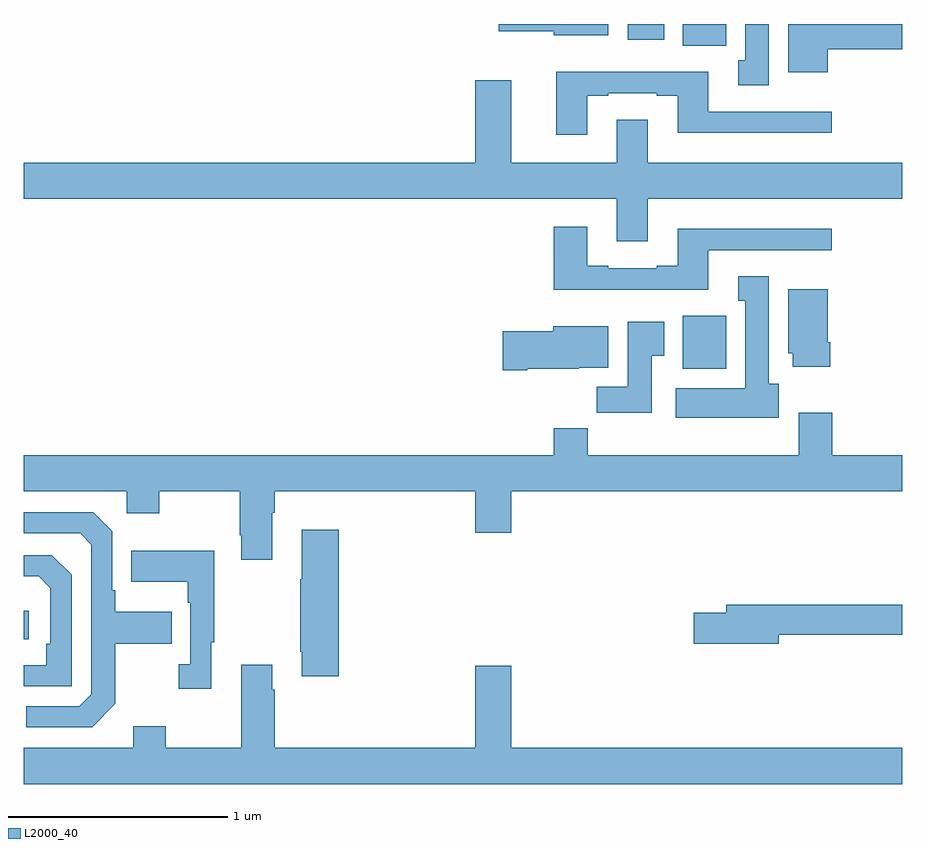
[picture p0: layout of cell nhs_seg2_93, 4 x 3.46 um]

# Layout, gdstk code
import gdstk
lib = gdstk.Library(unit=1e-6, precision=1e-09)
def R(c, l, rs):  # rectangles x0, y0, x1, y1
    for r in rs: c.add(gdstk.rectangle(r[:2], r[2:], *l))
def P(c, l, *ps):  # polygons
    for p in ps: c.add(gdstk.Polygon(p, *l))
L2000_40 = (2000, 40)

nhs_seg2_93 = lib.new_cell('nhs_seg2_93')
R(nhs_seg2_93, L2000_40, [(115,610.998,115.024,611.128), (118.001,612.23,118.198,612.472), (118.001,613.7,118.198,613.8), (117.749,613.728,117.916,613.8)])
P(nhs_seg2_93, L2000_40, [(118.66,613.684),(119,613.684),(119,613.8),(118.481,613.8),(118.481,613.58),(118.66,613.58)],
  [(118.393,613.8),(118.286,613.8),(118.286,613.634),(118.253,613.634),(118.253,613.521),(118.393,613.521)],
  [(117.661,613.8),(117.162,613.8),(117.162,613.766),(117.414,613.766),(117.414,613.748),(117.661,613.748)],
  [(117.565,613.473),(117.661,613.473),(117.661,613.485),(117.881,613.485),(117.881,613.473),(117.977,613.473),(117.977,613.304),(118.678,613.304),(118.678,613.401),(118.117,613.401),(118.117,613.582),(117.425,613.582),(117.425,613.296),(117.565,613.296)],
  [(117.841,613.004),(119,613.004),(119,613.168),(117.841,613.168),(117.841,613.363),(117.701,613.363),(117.701,613.168),(117.22,613.168),(117.22,613.543),(117.056,613.543),(117.056,613.168),(115,613.168),(115,613.004),(117.701,613.004),(117.701,612.81),(117.841,612.81)],
  [(118.117,612.771),(118.678,612.771),(118.678,612.868),(117.977,612.868),(117.977,612.7),(117.881,612.7),(117.881,612.687),(117.661,612.687),(117.661,612.7),(117.565,612.7),(117.565,612.877),(117.413,612.877),(117.413,612.59),(118.117,612.59)],
  [(118.438,612.162),(118.393,612.162),(118.393,612.652),(118.253,612.652),(118.253,612.539),(118.286,612.539),(118.286,612.142),(117.969,612.142),(117.969,612.008),(118.438,612.008)],
  [(118.673,612.352),(118.66,612.352),(118.66,612.592),(118.481,612.592),(118.481,612.3),(118.502,612.3),(118.502,612.24),(118.673,612.24)],
  [(117.859,612.289),(117.916,612.289),(117.916,612.445),(117.749,612.445),(117.749,612.148),(117.61,612.148),(117.61,612.03),(117.859,612.03)],
  [(117.292,612.23),(117.528,612.23),(117.528,612.236),(117.661,612.236),(117.661,612.424),(117.41,612.424),(117.41,612.401),(117.18,612.401),(117.18,612.223),(117.292,612.223)],
  [(116.131,611.576),(116.144,611.576),(116.144,611.672),(117.056,611.672),(117.056,611.484),(117.22,611.484),(117.22,611.672),(119,611.672),(119,611.836),(118.682,611.836),(118.682,612.031),(118.529,612.031),(118.529,611.836),(117.569,611.836),(117.569,611.96),(117.413,611.96),(117.413,611.836),(115,611.836),(115,611.672),(115.47,611.672),(115.47,611.573),(115.617,611.573),(115.617,611.672),(115.984,611.672),(115.984,611.473),(115.991,611.473),(115.991,611.361),(116.131,611.361)],
  [(115.417,610.705),(115.417,610.978),(115.673,610.978),(115.673,611.125),(115.417,611.125),(115.417,611.221),(115.404,611.221),(115.404,611.49),(115.317,611.577),(115,611.577),(115,611.481),(115.257,611.481),(115.308,611.43),(115.308,610.749),(115.254,610.695),(115.011,610.695),(115.011,610.599),(115.311,610.599)],
  [(116.435,611.497),(116.267,611.497),(116.267,611.273),(116.26,611.273),(116.26,610.942),(116.267,610.942),(116.267,610.83),(116.435,610.83)],
  [(115.855,610.985),(115.867,610.985),(115.867,611.401),(115.489,611.401),(115.489,611.261),(115.746,611.261),(115.746,611.165),(115.758,611.165),(115.758,610.886),(115.707,610.886),(115.707,610.773),(115.855,610.773)],
  [(115.218,611.292),(115.128,611.382),(115,611.382),(115,611.285),(115.069,611.285),(115.122,611.232),(115.122,610.978),(115.102,610.978),(115.102,610.881),(115,610.881),(115,610.785),(115.218,610.785)],
  [(118.438,611.02),(119,611.02),(119,611.156),(118.199,611.156),(118.199,611.12),(118.05,611.12),(118.05,610.978),(118.438,610.978)],
  [(119,610.504),(117.22,610.504),(117.22,610.879),(117.056,610.879),(117.056,610.504),(116.144,610.504),(116.144,610.769),(116.131,610.769),(116.131,610.882),(115.991,610.882),(115.991,610.504),(115.647,610.504),(115.647,610.603),(115.499,610.603),(115.499,610.504),(115,610.504),(115,610.34),(119,610.34)])

lib.write_gds('nhs_seg2_93.gds')
